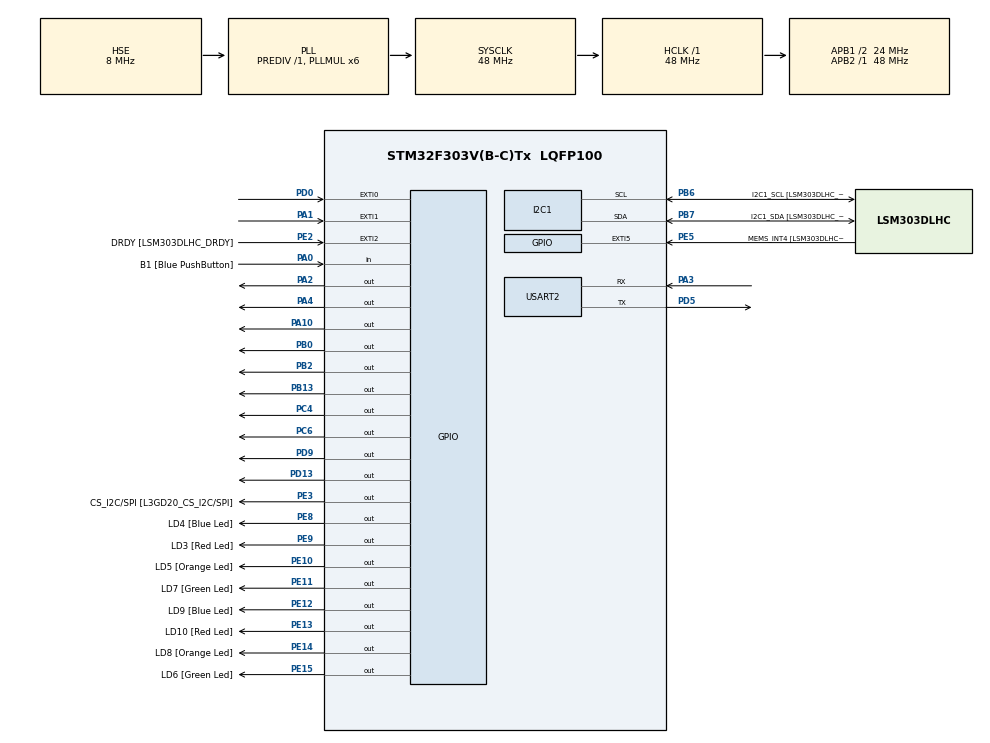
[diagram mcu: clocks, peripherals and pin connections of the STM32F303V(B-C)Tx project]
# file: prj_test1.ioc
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Mcu.Family=STM32F3
Mcu.Name=STM32F303V(B-C)Tx
Mcu.Package=LQFP100
NVIC.EXTI0_IRQn=true\:0\:0\:false\:false\:true\:true\:true\:true
NVIC.PriorityGroup=NVIC_PRIORITYGROUP_0
NVIC.TIM1_BRK_TIM15_IRQn=true\:0\:0\:false\:false\:true\:true\:true\:true
NVIC.TIM1_CC_IRQn=true\:0\:0\:false\:false\:true\:true\:true\:true
NVIC.TIM1_TRG_COM_TIM17_IRQn=true\:0\:0\:false\:false\:true\:true\:true\:true
NVIC.TIM1_UP_TIM16_IRQn=true\:0\:0\:false\:false\:true\:true\:true\:true
PA0.GPIO_Label=B1 [Blue PushButton]
PA0.Signal=GPIO_Input
PA1.GPIO_PuPd=GPIO_PULLDOWN
PA1.Signal=GPXTI1
PA10.Signal=GPIO_Output
PA14.GPIO_Label=SWCLK
PA14.Signal=SYS_JTCK-SWCLK
PA2.Signal=GPIO_Output
PA3.Mode=Asynchronous
PA3.Signal=USART2_RX
PA4.Signal=GPIO_Output
PA5.GPIO_Label=SPI1_SCK [L3GD20_SCL/SPC]
PA5.Signal=SPI1_SCK
PA6.GPIO_Label=SPI1_MISO [L3GD20_SA0/SDO]
PA6.Signal=SPI1_MISO
PA7.GPIO_Label=SPI1_MISO [L3GD20_SDA/SDI/SDO]
PA7.Signal=SPI1_MOSI
PB0.Signal=GPIO_Output
PB13.Signal=GPIO_Output
PB2.Signal=GPIO_Output
PB3.GPIO_Label=SWO
PB3.Signal=SYS_JTDO-TRACESWO
PB6.GPIO_Label=I2C1_SCL [LSM303DLHC_SCL]
PB6.GPIO_Pu=GPIO_PULLUP
PB6.Mode=I2C
PB6.Signal=I2C1_SCL
PB7.GPIO_Label=I2C1_SDA [LSM303DLHC_SDA]
PB7.GPIO_Pu=GPIO_PULLUP
PB7.Mode=I2C
PB7.Signal=I2C1_SDA
PC14-OSC32_IN.GPIO_Label=OSC32_IN
PC14-OSC32_IN.Signal=RCC_OSC32_IN
PC15-OSC32_OUT.GPIO_Label=OSC32_OUT
PC15-OSC32_OUT.Signal=RCC_OSC32_OUT
PC4.Signal=GPIO_Output
PC6.Signal=GPIO_Output
PD0.GPIO_PuPd=GPIO_PULLDOWN
PD0.Signal=GPXTI0
PD13.Signal=GPIO_Output
PD5.Mode=Asynchronous
PD5.Signal=USART2_TX
PD9.Signal=GPIO_Output
PE10.GPIO_Label=LD5 [Orange Led]
PE10.Signal=GPIO_Output
PE11.GPIO_Label=LD7 [Green Led]
PE11.Signal=GPIO_Output
PE12.GPIO_Label=LD9 [Blue Led]
PE12.Signal=GPIO_Output
PE13.GPIO_Label=LD10 [Red Led]
PE13.Signal=GPIO_Output
PE14.GPIO_Label=LD8 [Orange Led]
PE14.Signal=GPIO_Output
PE15.GPIO_Label=LD6 [Green Led]
PE15.Signal=GPIO_Output
PE2.GPIO_Label=DRDY [LSM303DLHC_DRDY]
PE2.GPIO_ModeDefaultEXTI=GPIO_MODE_EVT_RISING
PE2.Signal=GPXTI2
PE3.GPIO_Label=CS_I2C/SPI [L3GD20_CS_I2C/SPI]
PE3.Signal=GPIO_Output
PE5.GPIO_Label=MEMS_INT4 [LSM303DLHC_INT2]
PE5.GPIO_ModeDefaultEXTI=GPIO_MODE_EVT_RISING
PE5.Signal=GPXTI5
PE8.GPIO_Label=LD4 [Blue Led]
PE8.Signal=GPIO_Output
PE9.GPIO_Label=LD3 [Red Led]
PE9.Signal=GPIO_Output
PF0-OSC_IN.GPIO_Label=OSC_IN
PF0-OSC_IN.Mode=HSE-External-Clock-Source
PF0-OSC_IN.Signal=RCC_OSC_IN
PF1-OSC_OUT.GPIO_Label=OSC_OUT
PF1-OSC_OUT.Signal=RCC_OSC_OUT
ProjectManager.HeapSize=0x200
ProjectManager.StackSize=0x400
ProjectManager.TargetToolchain=STM32CubeIDE
RCC.AHBFreq_Value=48000000
RCC.APB1CLKDivider=RCC_HCLK_DIV2
RCC.APB1Freq_Value=24000000
RCC.APB1TimFreq_Value=48000000
RCC.APB2Freq_Value=48000000
RCC.APB2TimFreq_Value=48000000
RCC.CortexFreq_Value=48000000
RCC.HCLKFreq_Value=48000000
RCC.HSE_VALUE=8000000
RCC.HSI_VALUE=8000000
RCC.LSE_VALUE=32768
RCC.PLLMUL=RCC_PLL_MUL6
RCC.PLLSourceVirtual=RCC_PLLSOURCE_HSE
RCC.SYSCLKFreq_VALUE=48000000
RCC.SYSCLKSourceVirtual=RCC_SYSCLKSOURCE_PLLCLK
RCC.USBFreq_Value=48000000
TIM1.Period=1000-1
TIM1.Prescaler=4800-1
USART2.VirtualMode-Asynchronous=VM_ASYNC
VP_TIM1_VS_ClockSourceINT.Mode=Internal
board=STM32F3DISCOVERY

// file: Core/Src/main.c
/* USER CODE BEGIN Header */
/**
 ******************************************************************************
 * @file           : main.c
 * @brief          : Main program body
 ******************************************************************************
 * @attention
 *
 * Copyright (c) 2023 STMicroelectronics.
 * All rights reserved.
 *
 * This software is licensed under terms that can be found in the LICENSE file
 * in the root directory of this software component.
 * If no LICENSE file comes with this software, it is provided AS-IS.
 *
 ******************************************************************************
 */
/* USER CODE END Header */
#include "main.h"
/* USER CODE BEGIN Includes */
#include <string.h>

/* USER CODE END Includes */

/* USER CODE BEGIN PTD */

typedef struct {
    GPIO_TypeDef *port;
    uint16_t pin;
} pin_type;

typedef struct {
    pin_type digit[8];
} led_types;

/* USER CODE END PTD */

I2C_HandleTypeDef hi2c1;

TIM_HandleTypeDef htim1;

UART_HandleTypeDef huart2;

void SystemClock_Config(void);
static void MX_GPIO_Init(void);
static void MX_I2C1_Init(void);
static void MX_TIM1_Init(void);
static void MX_USART2_UART_Init(void);

/* USER CODE BEGIN 0 */

uint8_t input[100];
uint8_t character;
int index_arr = 0;

void uart_rx_enable_it(void) {
	HAL_UART_Receive_IT(&huart2, &character, 1);
}
uint8_t password[]={'p','a','s','s','1','2','3'};

led_types leds= {.digit={
	   {.port=GPIOE, .pin=GPIO_PIN_9},  //1: D3
	   {.port=GPIOE, .pin=GPIO_PIN_8},  //2: D4
	   {.port=GPIOE, .pin=GPIO_PIN_15}, //3: D6
	   {.port=GPIOE, .pin=GPIO_PIN_14}, //4: D8
	   {.port=GPIOE, .pin=GPIO_PIN_13}, //5: D10
	   {.port=GPIOE, .pin=GPIO_PIN_12}, //6: D9
	   {.port=GPIOE, .pin=GPIO_PIN_11}, //7: D7
	   {.port=GPIOE, .pin=GPIO_PIN_10}, //8: D5
}};

void turn_off_leds(){
	for (int i = 1; i < 9; i++){
			HAL_GPIO_WritePin(leds.digit[i-1].port, leds.digit[i-1].pin,0);
	}
}

int getString(uint8_t string[], uint32_t to){

    char substring[100];
    uint32_t c = 0;
    while (c <= to - 2 ){
        substring[c] = string[2 + c - 1];
        c++;
    }
    substring[c]='\0';

	if (strcmp(substring, password) == 0){
		return 1;
	}

    return 0;
}

uint32_t time;
uint32_t pir_active = 0; //0,1,2
uint8_t pass[15];
uint32_t observed = 1;
uint32_t relay_active = 0;

void HAL_UART_RxCpltCallback(UART_HandleTypeDef *huart2) {
	if (huart2->Instance == USART2) {
		char start[] = "ap1z";
		char reset[] = "aR-z";

		if (character != 'z'){
			input[index_arr++] = character;
		}else{
			input[index_arr++] = character;
			input[index_arr] = '\0';
			uint32_t temp = index_arr;
			index_arr = 0;

			if (strcmp(input,start) == 0){ //start
				pir_active = 1;

			}else if (strcmp(input, reset) == 0){ //reset
				pir_active = 0;
				relay_active = 0;
		    	HAL_GPIO_WritePin(GPIOA, GPIO_PIN_10, 0);
		    	turn_off_leds();

			}else if (input[0]=='a' && input[1]=='r' && input[temp-1]=='z'){ //Deactive
					if (getString(input, temp-2)==1){
						pir_active = 0;
						relay_active = 0;
				    	HAL_GPIO_WritePin(GPIOA, GPIO_PIN_10, 0);

					}
			}else{
					HAL_UART_Transmit(&huart2, "Invalid Packet", 14, HAL_MAX_DELAY);
			}
	}
		uart_rx_enable_it();

	}

}

void HAL_GPIO_EXTI_Callback(uint16_t GPIO_Pin)
{
    if (GPIO_Pin == GPIO_PIN_0)
    {
    	observed = 1;
    	relay_active = 1;
    	HAL_GPIO_WritePin(GPIOA, GPIO_PIN_10, relay_active);

    }
}

uint32_t time_count = 0;
uint32_t last_time = 0;

void HAL_TIM_PeriodElapsedCallback(TIM_HandleTypeDef *htim1) {
	if (htim1->Instance == TIM1) {
		if(pir_active == 0){
			turn_off_leds();
		}
		else if (pir_active == 1 && observed == 1){
			for (int i = 1; i < 9; i++){
					HAL_GPIO_TogglePin(leds.digit[i-1].port, leds.digit[i-1].pin);
			}
			HAL_GPIO_WritePin(GPIOA, GPIO_PIN_10, 1);
			if(HAL_GetTick() - last_time > 50000 ){
				observed = 0;
				relay_active = 0;
		    	HAL_GPIO_WritePin(GPIOA, GPIO_PIN_10, 0);
		    	last_time = HAL_GetTick();
			}

		}
		else if (pir_active == 1 && observed == 0){
			time_count +=1;
			if(time_count == 10){
				for (int i = 1; i < 9; i++){
					HAL_GPIO_TogglePin(leds.digit[i-1].port, leds.digit[i-1].pin);
				}
				time_count = 0;
			}
		}
	}
}

/* USER CODE END 0 */

int main(void)
{

  /* MCU Configuration--------------------------------------------------------*/

  /* Reset of all peripherals, Initializes the Flash interface and the Systick. */
  HAL_Init();

  /* Configure the system clock */
  SystemClock_Config();

  /* Initialize all configured peripherals */
  MX_GPIO_Init();
  MX_I2C1_Init();
  MX_TIM1_Init();
  MX_USART2_UART_Init();
  /* USER CODE BEGIN 2 */
  HAL_TIM_Base_Start_IT(&htim1);
  /* USER CODE END 2 */

  /* Infinite loop */
  /* USER CODE BEGIN WHILE */
//	HAL_UART_Transmit(&huart2, "waiting for number\n", 19, 10);
//	uint8_t numbers[NUM_LEN + 1] = { 0 };
//	HAL_UART_Receive(&huart2, numbers, NUM_LEN, HAL_MAX_DELAY);
//	uint8_t out[100];
//	uint32_t len_out = sprintf(out, "number {%s} received", numbers);
//	HAL_UART_Transmit(&huart2, out, len_out, HAL_MAX_DELAY);
//	programInit(numbers);
	uart_rx_enable_it();

	while (1) {
    /* USER CODE END WHILE */

	}
}

void SystemClock_Config(void)
{
  RCC_OscInitTypeDef RCC_OscInitStruct = {0};
  RCC_ClkInitTypeDef RCC_ClkInitStruct = {0};
  RCC_PeriphCLKInitTypeDef PeriphClkInit = {0};

  /** Initializes the RCC Oscillators according to the specified parameters
  * in the RCC_OscInitTypeDef structure.
  */
  RCC_OscInitStruct.OscillatorType = RCC_OSCILLATORTYPE_HSI|RCC_OSCILLATORTYPE_HSE;
  RCC_OscInitStruct.HSEState = RCC_HSE_BYPASS;
  RCC_OscInitStruct.HSEPredivValue = RCC_HSE_PREDIV_DIV1;
  RCC_OscInitStruct.HSIState = RCC_HSI_ON;
  RCC_OscInitStruct.HSICalibrationValue = RCC_HSICALIBRATION_DEFAULT;
  RCC_OscInitStruct.PLL.PLLState = RCC_PLL_ON;
  RCC_OscInitStruct.PLL.PLLSource = RCC_PLLSOURCE_HSE;
  RCC_OscInitStruct.PLL.PLLMUL = RCC_PLL_MUL6;
  if (HAL_RCC_OscConfig(&RCC_OscInitStruct) != HAL_OK)
  {
    Error_Handler();
  }

  /** Initializes the CPU, AHB and APB buses clocks
  */
  RCC_ClkInitStruct.ClockType = RCC_CLOCKTYPE_HCLK|RCC_CLOCKTYPE_SYSCLK
                              |RCC_CLOCKTYPE_PCLK1|RCC_CLOCKTYPE_PCLK2;
  RCC_ClkInitStruct.SYSCLKSource = RCC_SYSCLKSOURCE_PLLCLK;
  RCC_ClkInitStruct.AHBCLKDivider = RCC_SYSCLK_DIV1;
  RCC_ClkInitStruct.APB1CLKDivider = RCC_HCLK_DIV2;
  RCC_ClkInitStruct.APB2CLKDivider = RCC_HCLK_DIV1;

  if (HAL_RCC_ClockConfig(&RCC_ClkInitStruct, FLASH_LATENCY_1) != HAL_OK)
  {
    Error_Handler();
  }
  PeriphClkInit.PeriphClockSelection = RCC_PERIPHCLK_USART2|RCC_PERIPHCLK_I2C1
                              |RCC_PERIPHCLK_TIM1;
  PeriphClkInit.Usart2ClockSelection = RCC_USART2CLKSOURCE_PCLK1;
  PeriphClkInit.I2c1ClockSelection = RCC_I2C1CLKSOURCE_HSI;
  PeriphClkInit.Tim1ClockSelection = RCC_TIM1CLK_HCLK;
  if (HAL_RCCEx_PeriphCLKConfig(&PeriphClkInit) != HAL_OK)
  {
    Error_Handler();
  }
}

static void MX_I2C1_Init(void)
{

  hi2c1.Instance = I2C1;
  hi2c1.Init.Timing = 0x2000090E;
  hi2c1.Init.OwnAddress1 = 0;
  hi2c1.Init.AddressingMode = I2C_ADDRESSINGMODE_7BIT;
  hi2c1.Init.DualAddressMode = I2C_DUALADDRESS_DISABLE;
  hi2c1.Init.OwnAddress2 = 0;
  hi2c1.Init.OwnAddress2Masks = I2C_OA2_NOMASK;
  hi2c1.Init.GeneralCallMode = I2C_GENERALCALL_DISABLE;
  hi2c1.Init.NoStretchMode = I2C_NOSTRETCH_DISABLE;
  if (HAL_I2C_Init(&hi2c1) != HAL_OK)
  {
    Error_Handler();
  }

  /** Configure Analogue filter
  */
  if (HAL_I2CEx_ConfigAnalogFilter(&hi2c1, I2C_ANALOGFILTER_ENABLE) != HAL_OK)
  {
    Error_Handler();
  }

  /** Configure Digital filter
  */
  if (HAL_I2CEx_ConfigDigitalFilter(&hi2c1, 0) != HAL_OK)
  {
    Error_Handler();
  }

}

static void MX_TIM1_Init(void)
{

  TIM_ClockConfigTypeDef sClockSourceConfig = {0};
  TIM_MasterConfigTypeDef sMasterConfig = {0};

  htim1.Instance = TIM1;
  htim1.Init.Prescaler = 4800-1;
  htim1.Init.CounterMode = TIM_COUNTERMODE_UP;
  htim1.Init.Period = 1000-1;
  htim1.Init.ClockDivision = TIM_CLOCKDIVISION_DIV1;
  htim1.Init.RepetitionCounter = 0;
  htim1.Init.AutoReloadPreload = TIM_AUTORELOAD_PRELOAD_DISABLE;
  if (HAL_TIM_Base_Init(&htim1) != HAL_OK)
  {
    Error_Handler();
  }
  sClockSourceConfig.ClockSource = TIM_CLOCKSOURCE_INTERNAL;
  if (HAL_TIM_ConfigClockSource(&htim1, &sClockSourceConfig) != HAL_OK)
  {
    Error_Handler();
  }
  sMasterConfig.MasterOutputTrigger = TIM_TRGO_RESET;
  sMasterConfig.MasterOutputTrigger2 = TIM_TRGO2_RESET;
  sMasterConfig.MasterSlaveMode = TIM_MASTERSLAVEMODE_DISABLE;
  if (HAL_TIMEx_MasterConfigSynchronization(&htim1, &sMasterConfig) != HAL_OK)
  {
    Error_Handler();
  }

}

static void MX_USART2_UART_Init(void)
{

  huart2.Instance = USART2;
  huart2.Init.BaudRate = 115200;
  huart2.Init.WordLength = UART_WORDLENGTH_8B;
  huart2.Init.StopBits = UART_STOPBITS_1;
  huart2.Init.Parity = UART_PARITY_NONE;
  huart2.Init.Mode = UART_MODE_TX_RX;
  huart2.Init.HwFlowCtl = UART_HWCONTROL_NONE;
  huart2.Init.OverSampling = UART_OVERSAMPLING_16;
  huart2.Init.OneBitSampling = UART_ONE_BIT_SAMPLE_DISABLE;
  huart2.AdvancedInit.AdvFeatureInit = UART_ADVFEATURE_NO_INIT;
  if (HAL_UART_Init(&huart2) != HAL_OK)
  {
    Error_Handler();
  }

}

static void MX_GPIO_Init(void)
{
  GPIO_InitTypeDef GPIO_InitStruct = {0};

  /* GPIO Ports Clock Enable */
  __HAL_RCC_GPIOE_CLK_ENABLE();
  __HAL_RCC_GPIOC_CLK_ENABLE();
  __HAL_RCC_GPIOF_CLK_ENABLE();
  __HAL_RCC_GPIOA_CLK_ENABLE();
  __HAL_RCC_GPIOB_CLK_ENABLE();
  __HAL_RCC_GPIOD_CLK_ENABLE();

  /*Configure GPIO pin Output Level */
  HAL_GPIO_WritePin(GPIOE, CS_I2C_SPI_Pin|LD4_Pin|LD3_Pin|LD5_Pin
                          |LD7_Pin|LD9_Pin|LD10_Pin|LD8_Pin
                          |LD6_Pin, GPIO_PIN_RESET);

  /*Configure GPIO pin Output Level */
  HAL_GPIO_WritePin(GPIOA, GPIO_PIN_2|GPIO_PIN_4|GPIO_PIN_10, GPIO_PIN_RESET);

  /*Configure GPIO pin Output Level */
  HAL_GPIO_WritePin(GPIOC, GPIO_PIN_4|GPIO_PIN_6, GPIO_PIN_RESET);

  /*Configure GPIO pin Output Level */
  HAL_GPIO_WritePin(GPIOB, GPIO_PIN_0|GPIO_PIN_2|GPIO_PIN_13, GPIO_PIN_RESET);

  /*Configure GPIO pin Output Level */
  HAL_GPIO_WritePin(GPIOD, GPIO_PIN_9|GPIO_PIN_13, GPIO_PIN_RESET);

  /*Configure GPIO pins : DRDY_Pin MEMS_INT4_Pin */
  GPIO_InitStruct.Pin = DRDY_Pin|MEMS_INT4_Pin;
  GPIO_InitStruct.Mode = GPIO_MODE_EVT_RISING;
  GPIO_InitStruct.Pull = GPIO_NOPULL;
  HAL_GPIO_Init(GPIOE, &GPIO_InitStruct);

  /*Configure GPIO pins : CS_I2C_SPI_Pin LD4_Pin LD3_Pin LD5_Pin
                           LD7_Pin LD9_Pin LD10_Pin LD8_Pin
                           LD6_Pin */
  GPIO_InitStruct.Pin = CS_I2C_SPI_Pin|LD4_Pin|LD3_Pin|LD5_Pin
                          |LD7_Pin|LD9_Pin|LD10_Pin|LD8_Pin
                          |LD6_Pin;
  GPIO_InitStruct.Mode = GPIO_MODE_OUTPUT_PP;
  GPIO_InitStruct.Pull = GPIO_NOPULL;
  GPIO_InitStruct.Speed = GPIO_SPEED_FREQ_LOW;
  HAL_GPIO_Init(GPIOE, &GPIO_InitStruct);

  /*Configure GPIO pin : B1_Pin */
  GPIO_InitStruct.Pin = B1_Pin;
  GPIO_InitStruct.Mode = GPIO_MODE_INPUT;
  GPIO_InitStruct.Pull = GPIO_NOPULL;
  HAL_GPIO_Init(B1_GPIO_Port, &GPIO_InitStruct);

  /*Configure GPIO pin : PA1 */
  GPIO_InitStruct.Pin = GPIO_PIN_1;
  GPIO_InitStruct.Mode = GPIO_MODE_IT_RISING;
  GPIO_InitStruct.Pull = GPIO_PULLDOWN;
  HAL_GPIO_Init(GPIOA, &GPIO_InitStruct);

  /*Configure GPIO pins : PA2 PA4 PA10 */
  GPIO_InitStruct.Pin = GPIO_PIN_2|GPIO_PIN_4|GPIO_PIN_10;
  GPIO_InitStruct.Mode = GPIO_MODE_OUTPUT_PP;
  GPIO_InitStruct.Pull = GPIO_NOPULL;
  GPIO_InitStruct.Speed = GPIO_SPEED_FREQ_LOW;
  HAL_GPIO_Init(GPIOA, &GPIO_InitStruct);

  /*Configure GPIO pins : SPI1_SCK_Pin SPI1_MISO_Pin SPI1_MISOA7_Pin */
  GPIO_InitStruct.Pin = SPI1_SCK_Pin|SPI1_MISO_Pin|SPI1_MISOA7_Pin;
  GPIO_InitStruct.Mode = GPIO_MODE_AF_PP;
  GPIO_InitStruct.Pull = GPIO_NOPULL;
  GPIO_InitStruct.Speed = GPIO_SPEED_FREQ_HIGH;
  GPIO_InitStruct.Alternate = GPIO_AF5_SPI1;
  HAL_GPIO_Init(GPIOA, &GPIO_InitStruct);

  /*Configure GPIO pins : PC4 PC6 */
  GPIO_InitStruct.Pin = GPIO_PIN_4|GPIO_PIN_6;
  GPIO_InitStruct.Mode = GPIO_MODE_OUTPUT_PP;
  GPIO_InitStruct.Pull = GPIO_NOPULL;
  GPIO_InitStruct.Speed = GPIO_SPEED_FREQ_LOW;
  HAL_GPIO_Init(GPIOC, &GPIO_InitStruct);

  /*Configure GPIO pins : PB0 PB2 PB13 */
  GPIO_InitStruct.Pin = GPIO_PIN_0|GPIO_PIN_2|GPIO_PIN_13;
  GPIO_InitStruct.Mode = GPIO_MODE_OUTPUT_PP;
  GPIO_InitStruct.Pull = GPIO_NOPULL;
  GPIO_InitStruct.Speed = GPIO_SPEED_FREQ_LOW;
  HAL_GPIO_Init(GPIOB, &GPIO_InitStruct);

  /*Configure GPIO pins : PD9 PD13 */
  GPIO_InitStruct.Pin = GPIO_PIN_9|GPIO_PIN_13;
  GPIO_InitStruct.Mode = GPIO_MODE_OUTPUT_PP;
  GPIO_InitStruct.Pull = GPIO_NOPULL;
  GPIO_InitStruct.Speed = GPIO_SPEED_FREQ_LOW;
  HAL_GPIO_Init(GPIOD, &GPIO_InitStruct);

  /*Configure GPIO pin : PD0 */
  GPIO_InitStruct.Pin = GPIO_PIN_0;
  GPIO_InitStruct.Mode = GPIO_MODE_IT_RISING;
  GPIO_InitStruct.Pull = GPIO_PULLDOWN;
  HAL_GPIO_Init(GPIOD, &GPIO_InitStruct);

  /* EXTI interrupt init*/
  HAL_NVIC_SetPriority(EXTI0_IRQn, 0, 0);
  HAL_NVIC_EnableIRQ(EXTI0_IRQn);

}

void Error_Handler(void)
{
	__disable_irq();
	while (1) {
	}
}
